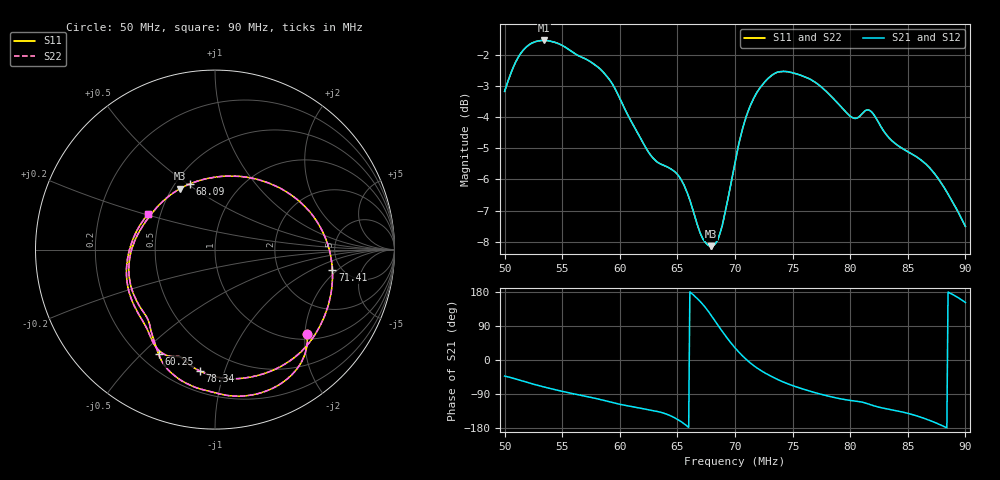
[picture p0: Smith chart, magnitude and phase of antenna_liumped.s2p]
! Generated by Python
# HZ S RI R 50
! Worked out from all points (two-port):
!   399 points, 50 MHz to 90 MHz, reference 50 ohm
!   highest |S21| = -1.53 dB at 53.42 MHz (marker M1); lowest = -8.1 dB at 67.89 MHz (marker M2)
!   |S21| within 3 dB of the highest: start of sweep to 61.59 MHz; 70.55 MHz to 83.08 MHz (12.53 MHz wide, 16.3 % of centre)
!   lowest |S11| = -8.1 dB at 67.89 MHz (marker M3), VSWR 2.29, Z = 27.5 + j22.1 ohm
!   |S11| at or under -10 dB: nowhere
!   |S22| runs from -8.1 to -1.5 dB; largest |S21 - S12| = 0
!   S11 on the Smith chart (normalised r, x): 50 MHz: 1.13, -2.05; 60.25 MHz: 0.27, -0.56; 68.09 MHz: 0.59, +0.51; 71.41 MHz: 4.23, -1.69; 78.34 MHz: 0.33, -0.83; 90 MHz: 0.43, +0.21
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5e7  0.5127 -0.468  0.5127 -0.468  0.5127 -0.468  0.5127 -0.468
5.130653e7  0.476 -0.6357  0.476 -0.6357  0.476 -0.6357  0.476 -0.6357
5.341708e7  0.2705 -0.7933  0.2705 -0.7933  0.2705 -0.7933  0.2705 -0.7933
5.673367e7  -0.0487 -0.7855  -0.0487 -0.7855  -0.0487 -0.7855  -0.0487 -0.7855
6.025126e7  -0.3147 -0.5811  -0.3147 -0.5811  -0.3147 -0.5811  -0.3147 -0.5811
6.336683e7  -0.3859 -0.3673  -0.3859 -0.3673  -0.3859 -0.3673  -0.3859 -0.3673
6.467337e7  -0.4528 -0.2503  -0.4528 -0.2503  -0.4528 -0.2503  -0.4528 -0.2503
6.59799e7  -0.4697 -0.0196  -0.4697 -0.0196  -0.4697 -0.0196  -0.4697 -0.0196
6.788945e7  -0.1942 0.3399  -0.1942 0.3399  -0.1942 0.3399  -0.1942 0.3399
6.809045e7  -0.1404 0.3658  -0.1404 0.3658  -0.1404 0.3658  -0.1404 0.3658
6.909548e7  0.1715 0.404  0.1715 0.404  0.1715 0.404  0.1715 0.404
7e7  0.4515 0.2844  0.4515 0.2844  0.4515 0.2844  0.4515 0.2844
7.070352e7  0.6008 0.0973  0.6008 0.0973  0.6008 0.0973  0.6008 0.0973
7.140704e7  0.6539 -0.1121  0.6539 -0.1121  0.6539 -0.1121  0.6539 -0.1121
7.261306e7  0.5942 -0.4063  0.5942 -0.4063  0.5942 -0.4063  0.5942 -0.4063
7.38191e7  0.4483 -0.5967  0.4483 -0.5967  0.4483 -0.5967  0.4483 -0.5967
7.673367e7  0.0722 -0.719  0.0722 -0.719  0.0722 -0.719  0.0722 -0.719
7.834171e7  -0.0841 -0.6766  -0.0841 -0.6766  -0.0841 -0.6766  -0.0841 -0.6766
8.145729e7  -0.272 -0.5882  -0.272 -0.5882  -0.272 -0.5882  -0.272 -0.5882
8.336683e7  -0.3752 -0.4483  -0.3752 -0.4483  -0.3752 -0.4483  -0.3752 -0.4483
8.738694e7  -0.4934 -0.1295  -0.4934 -0.1295  -0.4934 -0.1295  -0.4934 -0.1295
9e7  -0.3713 0.1989  -0.3713 0.1989  -0.3713 0.1989  -0.3713 0.1989
